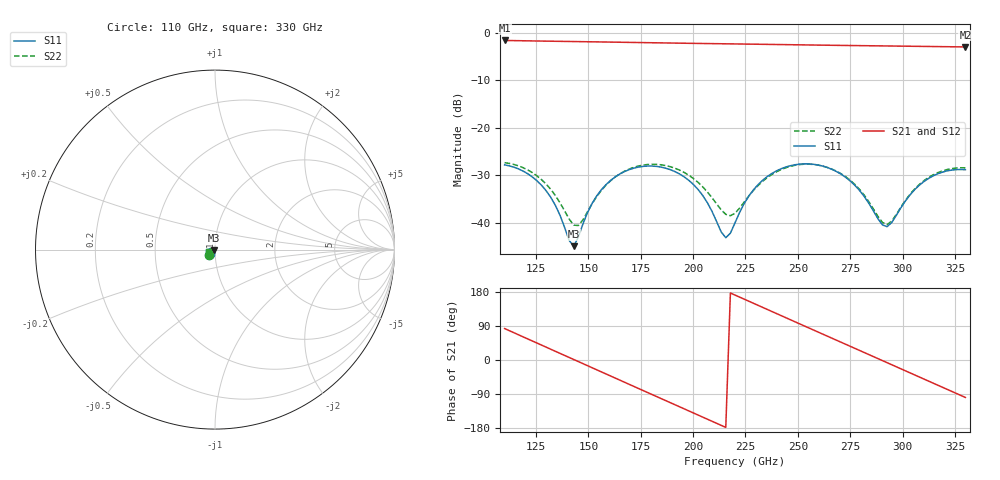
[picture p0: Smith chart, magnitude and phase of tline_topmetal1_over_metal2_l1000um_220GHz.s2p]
#  GHZ S DB R 50
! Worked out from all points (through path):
!   101 points, 110 GHz to 330 GHz, reference 50 ohm
!   highest |S21| = -1.57 dB at 110 GHz (marker M1); lowest = -2.9 dB at 330 GHz (marker M2)
!   group delay of S21, straight-line fit = 6.84 ps
!   lowest |S11| = -44.9 dB at 143 GHz (marker M3), VSWR 1.01, Z = 49.6 - j0.409 ohm
!   |S11| at or under -10 dB: start of sweep to end of sweep
!   |S22| runs from -40.6 to -27.3 dB; largest |S21 - S12| = 8.8e-14
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110  -27.78 -138.4  -1.57 83.0  -1.57 83.0  -27.33 -136.7
127.6  -32.07 -177.0  -1.70 39.4  -1.70 39.4  -30.88 -172.0
134.2  -36.28 175.0  -1.74 23.1  -1.74 23.1  -34.22 -178.3
143  -44.92 -133.5  -1.80 1.3  -1.80 1.3  -40.48 -150.7
147.4  -40.24 -94.8  -1.83 -9.6  -1.83 -9.6  -39.37 -117.0
154  -34.31 -92.4  -1.87 -25.9  -1.87 -25.9  -34.45 -102.6
162.8  -30.33 -107.3  -1.93 -47.7  -1.93 -47.7  -30.35 -111.4
173.8  -28.26 -130.7  -2.01 -74.8  -2.01 -74.8  -28.04 -131.5
184.8  -28.27 -154.8  -2.08 -102.0  -2.08 -102.0  -27.77 -153.2
202.4  -32.99 172.3  -2.20 -145.3  -2.20 -145.3  -31.49 178.5
215.6  -43.14 -148.8  -2.27 -177.8  -2.27 -177.8  -38.21 -162.4
220  -40.00 -111.0  -2.30 171.3  -2.30 171.3  -37.98 -137.4
226.6  -34.36 -103.4  -2.34 155.1  -2.34 155.1  -34.34 -120.0
235.4  -30.25 -115.3  -2.39 133.4  -2.39 133.4  -30.47 -124.4
246.4  -27.97 -136.6  -2.46 106.4  -2.46 106.4  -28.10 -141.8
257.4  -27.66 -159.1  -2.53 79.3  -2.53 79.3  -27.69 -162.2
277.2  -32.08 166.5  -2.65 30.8  -2.65 30.8  -31.90 165.8
290.4  -40.44 -171.5  -2.72 -1.6  -2.72 -1.6  -39.92 -172.8
294.8  -39.96 -138.7  -2.74 -12.4  -2.74 -12.4  -39.65 -141.0
310.2  -31.30 -126.9  -2.82 -50.3  -2.82 -50.3  -31.12 -126.4
321.2  -29.06 -145.0  -2.89 -77.2  -2.89 -77.2  -28.78 -143.2
330  -28.81 -161.0  -2.93 -98.8  -2.93 -98.8  -28.42 -158.2
